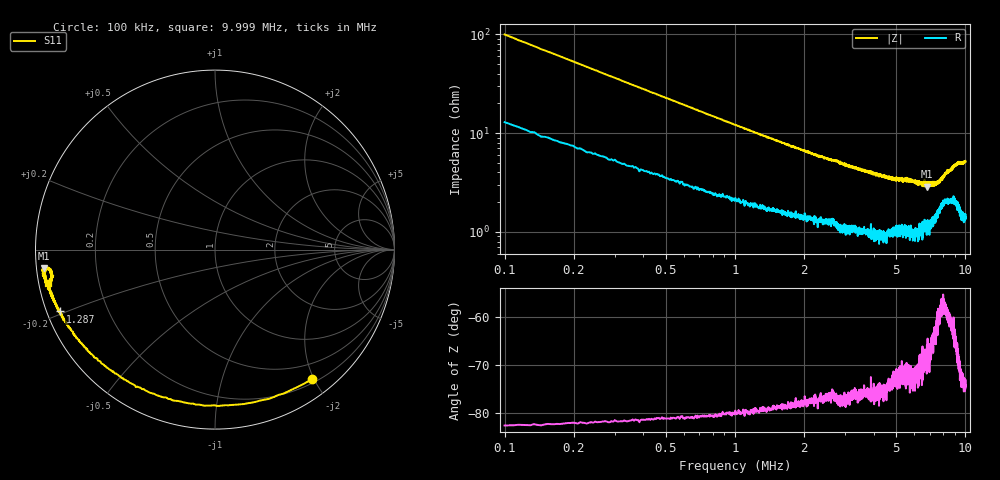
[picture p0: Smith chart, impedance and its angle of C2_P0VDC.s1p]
# HZ S RI R 50
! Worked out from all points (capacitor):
!   2020 points, 100 kHz to 9.999 MHz, reference 50 ohm
!   read as one part to ground: C = 15.1 nF near 149 kHz
!   lowest |Z| = 2.87 ohm at 6.832 MHz (marker M1)
!   S11 on the Smith chart (normalised r, x): 100 kHz: 0.26, -1.98; 1.287 MHz: 0.04, -0.19; 9.999 MHz: 0.03, -0.10
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100000  0.5429 -0.7193
134321  0.3533 -0.8097
163739  0.206 -0.8526
188254  0.0957 -0.8653
232381  -0.0721 -0.8665
276508  -0.2105 -0.8427
320635  -0.3205 -0.8126
364762  -0.4067 -0.777
413792  -0.4845 -0.7339
467725  -0.5505 -0.6909
536367  -0.6196 -0.6418
619718  -0.6793 -0.5898
786420  -0.7636 -0.4986
1007055  -0.8235 -0.4149
1286526  -0.8636 -0.3445
1340459  -0.8743 -0.3339
1796438  -0.9059 -0.2678
2203387  -0.9276 -0.2221
2576015  -0.9299 -0.1978
3816474  -0.9529 -0.1512
5052030  -0.9496 -0.1213
6287586  -0.953 -0.1109
6831819  -0.955 -0.1028
7528045  -0.936 -0.1029
8175241  -0.9147 -0.1203
8763601  -0.9087 -0.1446
9450021  -0.9185 -0.1729
9999157  -0.9289 -0.185
